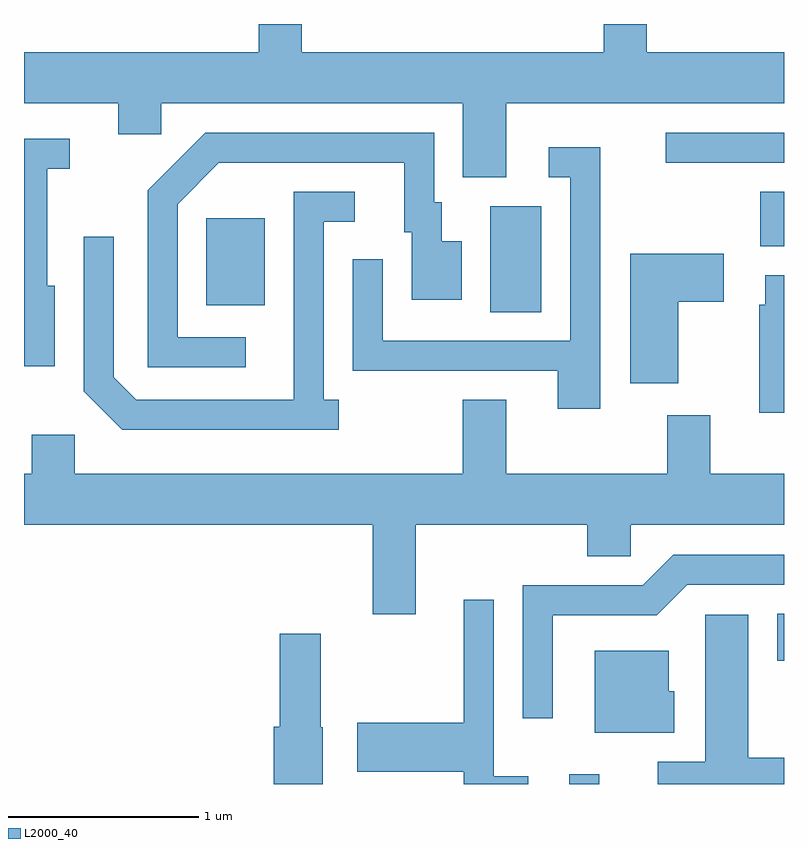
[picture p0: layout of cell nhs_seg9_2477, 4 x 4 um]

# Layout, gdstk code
import gdstk
lib = gdstk.Library(unit=1e-6, precision=1e-09)
def R(c, l, rs):  # rectangles x0, y0, x1, y1
    for r in rs: c.add(gdstk.rectangle(r[:2], r[2:], *l))
def P(c, l, *ps):  # polygons
    for p in ps: c.add(gdstk.Polygon(p, *l))
L2000_40 = (2000, 40)

nhs_seg9_2477 = lib.new_cell('nhs_seg9_2477')
R(nhs_seg9_2477, L2000_40, [(260.481,2010.432,260.639,2010.483), (261.576,2011.081,261.611,2011.329), (260.066,2012.916,260.334,2013.474), (258.571,2012.951,258.879,2013.409), (261.486,2013.261,261.611,2013.549), (260.988,2013.701,261.611,2013.859)])
P(nhs_seg9_2477, L2000_40, [(260.149,2014.016),(261.611,2014.016),(261.611,2014.284),(260.889,2014.284),(260.889,2014.432),(260.661,2014.432),(260.661,2014.284),(259.074,2014.284),(259.074,2014.432),(258.846,2014.432),(258.846,2014.284),(257.611,2014.284),(257.611,2014.016),(258.106,2014.016),(258.106,2013.851),(258.334,2013.851),(258.334,2014.016),(259.921,2014.016),(259.921,2013.626),(260.149,2013.626)],
  [(258.778,2012.784),(258.419,2012.784),(258.419,2013.484),(258.637,2013.701),(259.611,2013.701),(259.611,2013.336),(259.651,2013.336),(259.651,2012.981),(259.914,2012.981),(259.914,2013.289),(259.809,2013.289),(259.809,2013.494),(259.769,2013.494),(259.769,2013.859),(258.564,2013.859),(258.261,2013.557),(258.261,2012.626),(258.778,2012.626)],
  [(257.774,2013.054),(257.734,2013.054),(257.734,2013.671),(257.853,2013.671),(257.853,2013.829),(257.611,2013.829),(257.611,2012.631),(257.774,2012.631)],
  [(260.644,2013.784),(260.373,2013.784),(260.373,2013.626),(260.486,2013.626),(260.486,2012.764),(259.499,2012.764),(259.499,2013.193),(259.341,2013.193),(259.341,2012.606),(260.421,2012.606),(260.421,2012.406),(260.644,2012.406)],
  [(259.267,2012.454),(259.189,2012.454),(259.189,2013.391),(259.353,2013.391),(259.353,2013.549),(259.031,2013.549),(259.031,2012.454),(258.202,2012.454),(258.084,2012.572),(258.084,2013.313),(257.926,2013.313),(257.926,2012.499),(258.129,2012.296),(259.267,2012.296)],
  [(261.054,2012.971),(261.294,2012.971),(261.294,2013.224),(260.801,2013.224),(260.801,2012.541),(261.054,2012.541)],
  [(261.611,2013.109),(261.511,2013.109),(261.511,2012.954),(261.481,2012.954),(261.481,2012.386),(261.611,2012.386)],
  [(259.674,2011.796),(260.576,2011.796),(260.576,2011.631),(260.804,2011.631),(260.804,2011.796),(261.611,2011.796),(261.611,2012.064),(261.224,2012.064),(261.224,2012.374),(260.996,2012.374),(260.996,2012.064),(260.149,2012.064),(260.149,2012.454),(259.921,2012.454),(259.921,2012.064),(257.879,2012.064),(257.879,2012.269),(257.651,2012.269),(257.651,2012.064),(257.611,2012.064),(257.611,2011.796),(259.446,2011.796),(259.446,2011.326),(259.674,2011.326)],
  [(260.394,2011.321),(260.942,2011.321),(261.102,2011.481),(261.611,2011.481),(261.611,2011.639),(261.029,2011.639),(260.868,2011.479),(260.236,2011.479),(260.236,2010.778),(260.394,2010.778)],
  [(260.264,2010.474),(260.084,2010.474),(260.084,2011.403),(259.926,2011.403),(259.926,2010.754),(259.366,2010.754),(259.366,2010.496),(259.926,2010.496),(259.926,2010.432),(260.264,2010.432)],
  [(261.611,2010.569),(261.424,2010.569),(261.424,2011.324),(261.196,2011.324),(261.196,2010.549),(260.946,2010.549),(260.946,2010.432),(261.611,2010.432)],
  [(259.184,2010.73),(259.174,2010.73),(259.174,2011.224),(258.956,2011.224),(258.956,2010.734),(258.926,2010.734),(258.926,2010.432),(259.184,2010.432)],
  [(261.034,2010.919),(261.004,2010.919),(261.004,2011.134),(260.616,2011.134),(260.616,2010.701),(261.034,2010.701)])

lib.write_gds('nhs_seg9_2477.gds')
